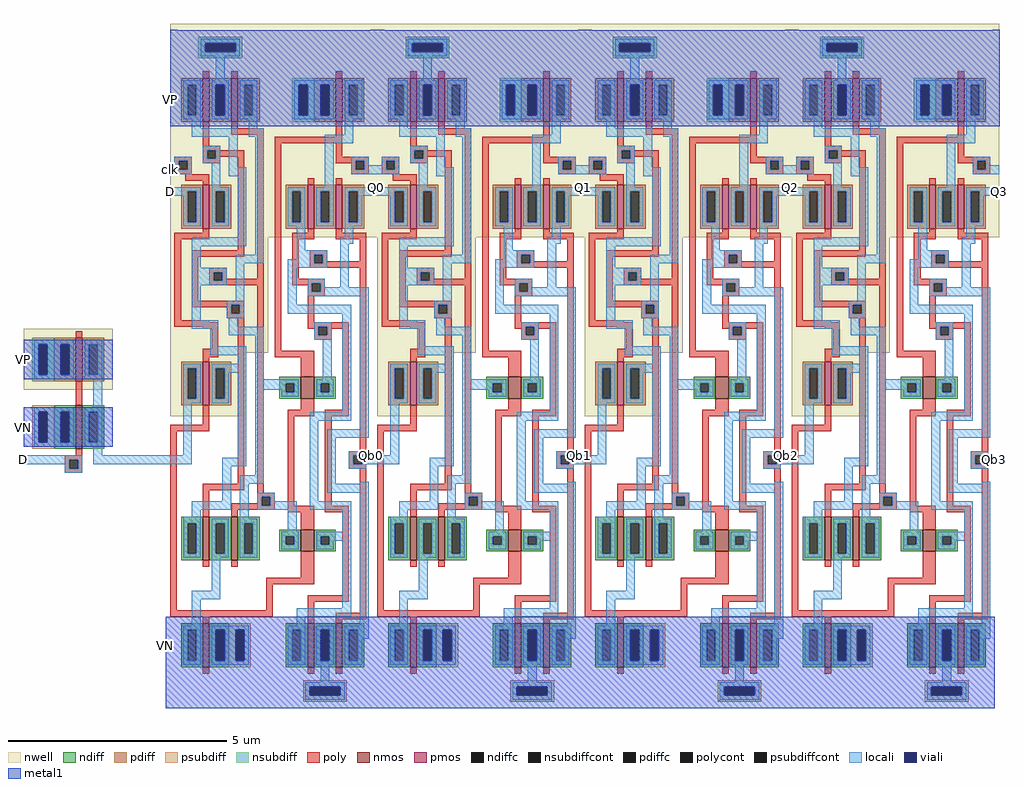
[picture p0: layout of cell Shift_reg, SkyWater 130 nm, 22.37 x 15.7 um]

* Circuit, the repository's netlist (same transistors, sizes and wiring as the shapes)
* SPICE3 file created from Shift_reg.ext - technology: sky130A

.subckt CSRL D Db clk Qb Q VP VN
X0 VN clk a_n100_n950# VN sky130_fd_pr__nfet_01v8 ad=9.5e+11p pd=5.9e+06u as=1e+12p ps=6e+06u w=1e+06u l=150000u
X1 a_n100_n460# clk Db VP sky130_fd_pr__pfet_01v8 ad=1e+12p pd=6e+06u as=5e+11p ps=3e+06u w=1e+06u l=150000u
X2 VN Q Qb VN sky130_fd_pr__nfet_01v8 ad=0p pd=0u as=7.5e+11p ps=5e+06u w=1e+06u l=150000u
X3 a_n50_700# clk D VP sky130_fd_pr__pfet_01v8 ad=1e+12p pd=6e+06u as=5e+11p ps=3e+06u w=1e+06u l=150000u
X4 a_510_1060# Q Qb VP sky130_fd_pr__pfet_01v8 ad=1e+12p pd=6e+06u as=5e+11p ps=3e+06u w=1e+06u l=150000u
X5 a_510_1060# clk VP VP sky130_fd_pr__pfet_01v8 ad=0p pd=0u as=1e+12p ps=6e+06u w=1e+06u l=150000u
X6 a_n100_n950# a_n50_700# a_n100_n460# VN sky130_fd_pr__nfet_01v8 ad=0p pd=0u as=7.5e+11p ps=5e+06u w=1e+06u l=150000u
X7 a_n50_700# a_n100_n460# VP VP sky130_fd_pr__pfet_01v8 ad=0p pd=0u as=0p ps=0u w=1e+06u l=150000u
X8 Q Qb VN VN sky130_fd_pr__nfet_01v8 ad=7.5e+11p pd=5e+06u as=0p ps=0u w=1e+06u l=150000u
X9 Q clk a_n50_700# VN sky130_fd_pr__nfet_01v8 ad=0p pd=0u as=7.5e+11p ps=5e+06u w=500000u l=300000u
X10 Q Qb a_510_1060# VP sky130_fd_pr__pfet_01v8 ad=5e+11p pd=3e+06u as=0p ps=0u w=1e+06u l=150000u
X11 a_n50_700# a_n100_n460# a_n100_n950# VN sky130_fd_pr__nfet_01v8 ad=0p pd=0u as=0p ps=0u w=1e+06u l=150000u
X12 Qb clk a_n100_n460# VN sky130_fd_pr__nfet_01v8 ad=0p pd=0u as=0p ps=0u w=500000u l=300000u
X13 VP a_n50_700# a_n100_n460# VP sky130_fd_pr__pfet_01v8 ad=0p pd=0u as=0p ps=0u w=1e+06u l=150000u
.ends

.subckt inverter A Y VP VN
X0 Y A VN VN sky130_fd_pr__nfet_01v8 ad=5e+11p pd=3e+06u as=5e+11p ps=3e+06u w=1e+06u l=150000u
X1 Y A VP VP sky130_fd_pr__pfet_01v8 ad=5e+11p pd=3e+06u as=5e+11p ps=3e+06u w=1e+06u l=150000u
.ends


* Top level circuit Shift_reg

XCSRL_0 D CSRL_0/Db clk Qb0 Q0 VP VN CSRL
XCSRL_1 Q0 Qb0 clk Qb1 Q1 VP VN CSRL
Xinverter_0 D CSRL_0/Db VP VN inverter
XCSRL_2 Q1 Qb1 clk Qb2 Q2 VP VN CSRL
XCSRL_3 Q2 Qb2 clk Qb3 Q3 VP VN CSRL
.end

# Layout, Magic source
magic
tech sky130A
<< locali >>
rect -3 1226 7 1246
rect -3 1176 21 1196
rect 443 1176 496 1196
rect 922 1176 965 1196
rect 1401 1176 1436 1196
rect 1872 1176 1897 1196
rect -339 561 -310 581
rect -148 561 3 581
rect 448 561 472 581
rect 923 561 947 581
rect 1398 561 1421 581
rect 1872 561 1887 581
<< metal1 >>
rect -3 1345 19 1446
rect -339 756 -323 846
rect -339 601 -321 691
rect -13 95 18 196
use inverter  inverter_0
transform 1 0 -219 0 1 596
box -120 -55 85 275
use CSRL  CSRL_3
transform 1 0 1497 0 1 571
box -85 -570 401 1000
use CSRL  CSRL_2
transform 1 0 1022 0 1 571
box -85 -570 401 1000
use CSRL  CSRL_1
transform 1 0 547 0 1 571
box -85 -570 401 1000
use CSRL  CSRL_0
transform 1 0 72 0 1 571
box -85 -570 401 1000
<< labels >>
rlabel locali -339 571 -339 571 7 D
rlabel locali -3 1186 -3 1186 7 D
rlabel locali -3 1236 -3 1236 7 clk
rlabel metal1 -3 1396 -3 1396 7 VP
rlabel metal1 -13 146 -13 146 7 VN
rlabel locali 1887 571 1887 571 3 Qb3
rlabel locali 1897 1186 1897 1186 3 Q3
rlabel locali 1409 581 1409 581 1 Qb2
rlabel locali 1418 1196 1418 1196 1 Q2
rlabel locali 944 1196 944 1196 1 Q1
rlabel locali 935 581 935 581 1 Qb1
rlabel locali 459 581 459 581 1 Qb0
rlabel locali 470 1196 470 1196 1 Q0
rlabel metal1 -339 801 -339 801 7 VP
rlabel metal1 -339 646 -339 646 7 VN
<< end >>

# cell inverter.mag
magic
tech sky130A
<< nwell >>
rect -120 135 85 275
<< nmos >>
rect 0 0 15 100
<< pmos >>
rect 0 155 15 255
<< ndiff >>
rect -50 85 0 100
rect -50 15 -35 85
rect -15 15 0 85
rect -50 0 0 15
rect 15 85 65 100
rect 15 15 30 85
rect 50 15 65 85
rect 15 0 65 15
<< pdiff >>
rect -50 240 0 255
rect -50 170 -35 240
rect -15 170 0 240
rect -50 155 0 170
rect 15 240 65 255
rect 15 170 30 240
rect 50 170 65 240
rect 15 155 65 170
<< ndiffc >>
rect -35 15 -15 85
rect 30 15 50 85
<< pdiffc >>
rect -35 170 -15 240
rect 30 170 50 240
<< psubdiff >>
rect -100 85 -50 100
rect -100 15 -85 85
rect -65 15 -50 85
rect -100 0 -50 15
<< nsubdiff >>
rect -100 240 -50 255
rect -100 170 -85 240
rect -65 170 -50 240
rect -100 155 -50 170
<< psubdiffcont >>
rect -85 15 -65 85
<< nsubdiffcont >>
rect -85 170 -65 240
<< poly >>
rect 0 255 15 270
rect 0 100 15 155
rect 0 -15 15 0
rect -25 -25 15 -15
rect -25 -45 -15 -25
rect 5 -45 15 -25
rect -25 -55 15 -45
<< polycont >>
rect -15 -45 5 -25
<< locali >>
rect -95 240 -5 250
rect -95 170 -85 240
rect -65 170 -35 240
rect -15 170 -5 240
rect -95 160 -5 170
rect 20 240 60 250
rect 20 170 30 240
rect 50 170 60 240
rect 20 160 60 170
rect 40 95 60 160
rect -95 85 -5 95
rect -95 15 -85 85
rect -65 15 -35 85
rect -15 15 -5 85
rect -95 5 -5 15
rect 20 85 60 95
rect 20 15 30 85
rect 50 15 60 85
rect 20 5 60 15
rect 40 -15 60 5
rect -120 -25 15 -15
rect -120 -35 -15 -25
rect -25 -45 -15 -35
rect 5 -45 15 -25
rect 40 -35 85 -15
rect -25 -55 15 -45
<< viali >>
rect -85 170 -65 240
rect -35 170 -15 240
rect -85 15 -65 85
rect -35 15 -15 85
<< metal1 >>
rect -120 240 85 250
rect -120 170 -85 240
rect -65 170 -35 240
rect -15 170 85 240
rect -120 160 85 170
rect -120 85 85 95
rect -120 15 -85 85
rect -65 15 -35 85
rect -15 15 85 85
rect -120 5 85 15
<< labels >>
rlabel locali -120 -25 -120 -25 7 A
port 1 w
rlabel metal1 -120 205 -120 205 7 VP
port 3 w
rlabel metal1 -120 50 -120 50 7 VN
port 4 w
rlabel locali 85 -25 85 -25 3 Y
port 2 e
<< end >>

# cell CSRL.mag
magic
tech sky130A
<< nwell >>
rect -75 986 400 1000
rect -75 765 401 986
rect -75 510 400 765
rect -75 245 150 510
rect -75 100 100 245
<< nmos >>
rect 225 140 255 190
rect 0 -230 15 -130
rect 65 -230 80 -130
rect 225 -210 255 -160
rect 0 -475 15 -375
rect 240 -475 255 -375
rect 305 -475 320 -375
<< pmos >>
rect 0 775 15 875
rect 65 775 80 875
rect 305 775 320 875
rect 0 530 15 630
rect 0 125 15 225
rect 240 530 255 630
rect 305 530 320 630
<< ndiff >>
rect 175 175 225 190
rect 175 155 190 175
rect 210 155 225 175
rect 175 140 225 155
rect 255 175 305 190
rect 255 155 270 175
rect 290 155 305 175
rect 255 140 305 155
rect -50 -145 0 -130
rect -50 -215 -35 -145
rect -15 -215 0 -145
rect -50 -230 0 -215
rect 15 -145 65 -130
rect 15 -215 30 -145
rect 50 -215 65 -145
rect 15 -230 65 -215
rect 80 -145 130 -130
rect 80 -215 95 -145
rect 115 -215 130 -145
rect 175 -175 225 -160
rect 175 -195 190 -175
rect 210 -195 225 -175
rect 175 -210 225 -195
rect 255 -175 305 -160
rect 255 -195 270 -175
rect 290 -195 305 -175
rect 255 -210 305 -195
rect 80 -230 130 -215
rect -50 -390 0 -375
rect -50 -460 -35 -390
rect -15 -460 0 -390
rect -50 -475 0 -460
rect 15 -390 60 -375
rect 15 -460 30 -390
rect 50 -460 60 -390
rect 15 -475 60 -460
rect 190 -390 240 -375
rect 190 -460 205 -390
rect 225 -460 240 -390
rect 190 -475 240 -460
rect 255 -390 305 -375
rect 255 -460 270 -390
rect 290 -460 305 -390
rect 255 -475 305 -460
rect 320 -390 370 -375
rect 320 -460 335 -390
rect 355 -460 370 -390
rect 320 -475 370 -460
<< pdiff >>
rect -50 860 0 875
rect -50 790 -35 860
rect -15 790 0 860
rect -50 775 0 790
rect 15 860 65 875
rect 15 790 30 860
rect 50 790 65 860
rect 15 775 65 790
rect 80 860 130 875
rect 80 790 95 860
rect 115 790 130 860
rect 80 775 130 790
rect 255 860 305 875
rect 255 790 270 860
rect 290 790 305 860
rect 255 775 305 790
rect 320 860 370 875
rect 320 790 335 860
rect 355 790 370 860
rect 320 775 370 790
rect -50 615 0 630
rect -50 545 -35 615
rect -15 545 0 615
rect -50 530 0 545
rect 15 615 65 630
rect 15 545 30 615
rect 50 545 65 615
rect 15 530 65 545
rect -50 210 0 225
rect -50 140 -35 210
rect -15 140 0 210
rect -50 125 0 140
rect 15 210 65 225
rect 15 140 30 210
rect 50 140 65 210
rect 15 125 65 140
rect 190 615 240 630
rect 190 545 205 615
rect 225 545 240 615
rect 190 530 240 545
rect 255 615 305 630
rect 255 545 270 615
rect 290 545 305 615
rect 255 530 305 545
rect 320 615 370 630
rect 320 545 335 615
rect 355 545 370 615
rect 320 530 370 545
<< ndiffc >>
rect 190 155 210 175
rect 270 155 290 175
rect -35 -215 -15 -145
rect 30 -215 50 -145
rect 95 -215 115 -145
rect 190 -195 210 -175
rect 270 -195 290 -175
rect -35 -460 -15 -390
rect 30 -460 50 -390
rect 205 -460 225 -390
rect 270 -460 290 -390
rect 335 -460 355 -390
<< pdiffc >>
rect -35 790 -15 860
rect 30 790 50 860
rect 95 790 115 860
rect 270 790 290 860
rect 335 790 355 860
rect -35 545 -15 615
rect 30 545 50 615
rect -35 140 -15 210
rect 30 140 50 210
rect 205 545 225 615
rect 270 545 290 615
rect 335 545 355 615
<< psubdiff >>
rect 60 -390 110 -375
rect 60 -460 75 -390
rect 95 -460 110 -390
rect 60 -475 110 -460
rect 230 -520 330 -505
rect 230 -540 245 -520
rect 315 -540 330 -520
rect 230 -555 330 -540
<< nsubdiff >>
rect -10 955 90 970
rect -10 935 5 955
rect 75 935 90 955
rect -10 920 90 935
rect 205 860 255 875
rect 205 790 220 860
rect 240 790 255 860
rect 205 775 255 790
<< psubdiffcont >>
rect 75 -460 95 -390
rect 245 -540 315 -520
<< nsubdiffcont >>
rect 5 935 75 955
rect 220 790 240 860
<< poly >>
rect 0 875 15 890
rect 65 875 80 890
rect 305 875 320 890
rect 0 720 15 775
rect 65 760 80 775
rect 65 745 140 760
rect 0 710 40 720
rect -65 685 -25 695
rect -65 665 -55 685
rect -35 665 -25 685
rect 0 690 10 710
rect 30 695 95 710
rect 30 690 40 695
rect 0 680 40 690
rect -65 655 -25 665
rect -40 640 15 655
rect 0 630 15 640
rect 0 520 15 530
rect -65 505 15 520
rect -65 320 -50 505
rect 80 480 95 695
rect -25 465 95 480
rect -25 365 -10 465
rect 15 430 55 440
rect 15 410 25 430
rect 45 415 55 430
rect 125 415 140 745
rect 305 740 320 775
rect 45 410 140 415
rect 15 400 140 410
rect -25 355 95 365
rect -25 350 65 355
rect 55 335 65 350
rect 85 335 95 355
rect 55 325 95 335
rect -65 315 15 320
rect -65 305 35 315
rect 0 300 35 305
rect 20 255 35 300
rect 0 235 35 255
rect 0 225 15 235
rect 0 80 15 125
rect -75 65 15 80
rect -75 -345 -60 65
rect 80 -55 95 325
rect 0 -70 95 -55
rect 0 -130 15 -70
rect 125 -75 140 400
rect 165 725 320 740
rect 165 250 180 725
rect 305 695 320 725
rect 305 685 380 695
rect 305 680 350 685
rect 340 665 350 680
rect 370 665 380 685
rect 340 655 380 665
rect 240 630 255 645
rect 305 630 320 645
rect 240 520 255 530
rect 205 505 255 520
rect 305 520 320 530
rect 305 505 375 520
rect 205 415 220 505
rect 245 470 285 480
rect 245 450 255 470
rect 275 455 285 470
rect 360 455 375 505
rect 275 450 375 455
rect 245 440 375 450
rect 205 405 280 415
rect 205 400 250 405
rect 240 385 250 400
rect 270 385 280 405
rect 240 375 280 385
rect 240 315 255 375
rect 240 305 335 315
rect 240 300 265 305
rect 255 285 265 300
rect 285 300 335 305
rect 285 285 295 300
rect 255 275 295 285
rect 165 235 255 250
rect 225 190 255 235
rect 225 115 255 140
rect 320 115 335 300
rect 195 100 255 115
rect 280 100 335 115
rect 125 -85 165 -75
rect 125 -100 135 -85
rect 65 -105 135 -100
rect 155 -105 165 -85
rect 65 -115 165 -105
rect 195 -105 210 100
rect 280 -105 295 100
rect 360 20 375 440
rect 335 10 375 20
rect 335 -10 345 10
rect 365 -10 375 10
rect 335 -20 375 -10
rect 65 -130 80 -115
rect 195 -120 255 -105
rect 280 -120 335 -105
rect 225 -160 255 -120
rect 0 -245 15 -230
rect 65 -245 80 -230
rect 225 -270 255 -210
rect 145 -285 255 -270
rect 145 -345 160 -285
rect 320 -310 335 -120
rect -75 -360 160 -345
rect 240 -325 335 -310
rect 0 -375 15 -360
rect 240 -375 255 -325
rect 360 -350 375 -20
rect 305 -365 375 -350
rect 305 -375 320 -365
rect 0 -490 15 -475
rect 240 -490 255 -475
rect 305 -490 320 -475
<< polycont >>
rect -55 665 -35 685
rect 10 690 30 710
rect 25 410 45 430
rect 65 335 85 355
rect 350 665 370 685
rect 255 450 275 470
rect 250 385 270 405
rect 265 285 285 305
rect 135 -105 155 -85
rect 345 -10 365 10
<< locali >>
rect -5 955 85 965
rect -5 935 5 955
rect 75 935 85 955
rect -5 925 85 935
rect 30 870 50 925
rect -45 860 -5 870
rect -45 790 -35 860
rect -15 790 -5 860
rect -45 780 -5 790
rect 20 860 60 870
rect 20 790 30 860
rect 50 790 60 860
rect 20 780 60 790
rect 85 860 125 870
rect 85 790 95 860
rect 115 790 125 860
rect 85 780 125 790
rect 210 860 300 870
rect 210 790 220 860
rect 240 790 270 860
rect 290 790 300 860
rect 210 780 300 790
rect 325 860 365 870
rect 325 790 335 860
rect 355 790 365 860
rect 325 780 365 790
rect -25 760 -5 780
rect 105 760 125 780
rect -25 740 80 760
rect 105 740 140 760
rect 325 745 345 780
rect 0 710 40 720
rect -65 685 -25 695
rect -65 675 -55 685
rect -75 665 -55 675
rect -35 665 -25 685
rect 0 690 10 710
rect 30 690 40 710
rect 0 680 40 690
rect -75 655 -25 665
rect 20 625 40 680
rect 60 670 80 740
rect 60 650 100 670
rect -75 615 -5 625
rect -75 605 -35 615
rect -45 545 -35 605
rect -15 545 -5 615
rect -45 535 -5 545
rect 20 615 60 625
rect 20 545 30 615
rect 50 545 60 615
rect 20 535 60 545
rect 80 510 100 650
rect -25 490 100 510
rect -25 440 -5 490
rect 120 470 140 740
rect 280 725 345 745
rect 280 625 300 725
rect 340 685 380 695
rect 340 665 350 685
rect 370 675 380 685
rect 370 665 400 675
rect 340 655 400 665
rect 195 615 235 625
rect 195 545 205 615
rect 225 545 235 615
rect 195 535 235 545
rect 260 615 300 625
rect 260 545 270 615
rect 290 545 300 615
rect 260 535 300 545
rect 325 615 400 625
rect 325 545 335 615
rect 355 605 400 615
rect 355 545 365 605
rect 325 535 365 545
rect 75 450 140 470
rect 215 480 235 535
rect 325 510 345 535
rect 315 495 345 510
rect 215 470 285 480
rect 215 460 255 470
rect 195 450 255 460
rect 275 450 285 470
rect -25 430 55 440
rect -25 410 25 430
rect 45 410 55 430
rect -25 400 55 410
rect -25 320 -5 400
rect 75 365 95 450
rect 55 355 95 365
rect 55 335 65 355
rect 85 335 95 355
rect 195 440 285 450
rect 195 355 215 440
rect 240 405 280 415
rect 240 385 250 405
rect 270 395 280 405
rect 315 395 335 495
rect 270 385 380 395
rect 240 375 380 385
rect 195 335 340 355
rect 55 325 95 335
rect -25 300 35 320
rect 60 305 80 325
rect 255 305 295 315
rect 17 260 34 300
rect 60 285 140 305
rect 17 240 100 260
rect 80 220 100 240
rect -45 210 -5 220
rect -45 140 -35 210
rect -15 140 -5 210
rect -45 130 -5 140
rect 20 210 100 220
rect 20 140 30 210
rect 50 200 100 210
rect 50 140 60 200
rect 20 130 60 140
rect -45 10 -25 130
rect -85 -10 -25 10
rect 80 5 100 200
rect 45 -15 100 5
rect 120 185 140 285
rect 255 285 265 305
rect 285 285 295 305
rect 255 275 295 285
rect 275 185 295 275
rect 120 175 220 185
rect 120 160 190 175
rect 45 -95 65 -15
rect 120 -35 140 160
rect 180 155 190 160
rect 210 155 220 175
rect 180 145 220 155
rect 260 175 300 185
rect 260 155 270 175
rect 290 155 300 175
rect 260 145 300 155
rect 320 110 340 335
rect -25 -115 65 -95
rect 85 -55 140 -35
rect 245 90 340 110
rect -25 -130 -5 -115
rect -45 -145 -5 -130
rect 85 -135 105 -55
rect 125 -85 165 -75
rect 125 -105 135 -85
rect 155 -95 165 -85
rect 245 -95 265 90
rect 360 70 380 375
rect 285 50 380 70
rect 285 -55 305 50
rect 335 10 375 20
rect 335 -10 345 10
rect 365 -10 390 10
rect 335 -20 375 -10
rect 360 -55 380 -50
rect 285 -75 380 -55
rect 155 -105 215 -95
rect 125 -115 215 -105
rect 245 -115 340 -95
rect -45 -215 -35 -145
rect -15 -215 -5 -145
rect -45 -225 -5 -215
rect 20 -145 60 -135
rect 20 -215 30 -145
rect 50 -215 60 -145
rect 20 -225 60 -215
rect 85 -145 125 -135
rect 85 -215 95 -145
rect 115 -215 125 -145
rect 195 -165 215 -115
rect 320 -165 340 -115
rect 180 -175 220 -165
rect 180 -195 190 -175
rect 210 -195 220 -175
rect 180 -205 220 -195
rect 260 -175 340 -165
rect 260 -195 270 -175
rect 290 -185 340 -175
rect 290 -195 300 -185
rect 260 -205 300 -195
rect 85 -225 125 -215
rect 20 -300 40 -225
rect -25 -320 40 -300
rect -25 -380 -5 -320
rect 320 -340 340 -185
rect 215 -360 340 -340
rect 215 -380 235 -360
rect 360 -380 380 -75
rect -45 -390 -5 -380
rect -45 -460 -35 -390
rect -15 -460 -5 -390
rect -45 -470 -5 -460
rect 20 -390 105 -380
rect 20 -460 30 -390
rect 50 -460 75 -390
rect 95 -460 105 -390
rect 20 -470 105 -460
rect 195 -390 235 -380
rect 195 -460 205 -390
rect 225 -460 235 -390
rect 195 -470 235 -460
rect 260 -390 300 -380
rect 260 -460 270 -390
rect 290 -460 300 -390
rect 260 -470 300 -460
rect 325 -390 380 -380
rect 325 -460 335 -390
rect 355 -410 380 -390
rect 355 -460 365 -410
rect 325 -470 365 -460
rect 270 -510 290 -470
rect 235 -520 325 -510
rect 235 -540 245 -520
rect 315 -540 325 -520
rect 235 -550 325 -540
<< viali >>
rect 5 935 75 955
rect 30 790 50 860
rect 220 790 240 860
rect 270 790 290 860
rect 30 -460 50 -390
rect 75 -460 95 -390
rect 270 -460 290 -390
rect 245 -540 315 -520
<< metal1 >>
rect -75 985 -59 986
rect 385 985 401 986
rect -75 955 401 985
rect -75 935 5 955
rect 75 935 401 955
rect -75 860 401 935
rect -75 790 30 860
rect 50 790 220 860
rect 240 790 270 860
rect 290 790 401 860
rect -75 765 401 790
rect -85 -390 390 -360
rect -85 -460 30 -390
rect 50 -460 75 -390
rect 95 -460 270 -390
rect 290 -460 390 -390
rect -85 -520 390 -460
rect -85 -540 245 -520
rect 315 -540 390 -520
rect -85 -570 390 -540
<< labels >>
rlabel locali -75 615 -75 615 7 D
port 1 w
rlabel locali -85 0 -85 0 7 Db
port 3 w
rlabel locali 390 0 390 0 3 Qb
port 9 e
rlabel locali -75 665 -75 665 7 clk
port 4 w
rlabel locali 400 615 400 615 3 Q
port 10 e
rlabel metal1 -75 825 -75 825 7 VP
port 11 w
rlabel metal1 -85 -425 -85 -425 7 VN
port 12 w
<< end >>
